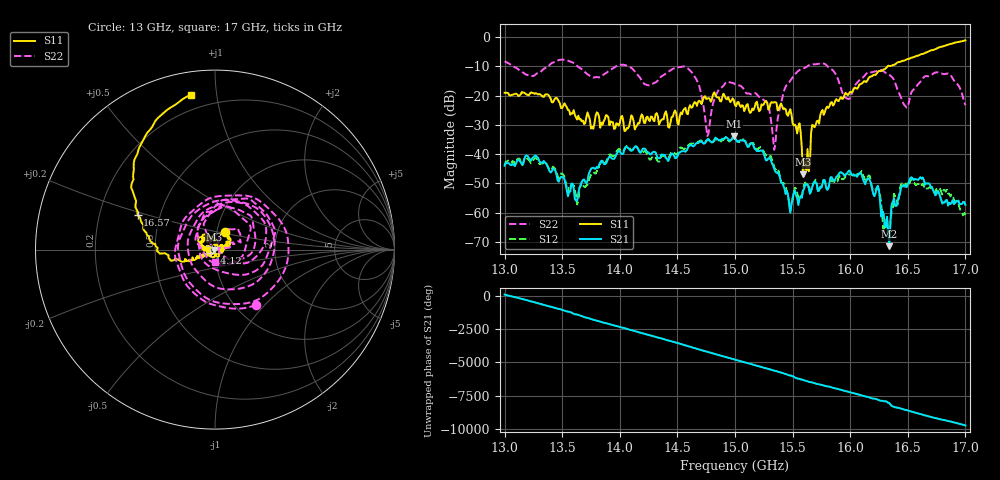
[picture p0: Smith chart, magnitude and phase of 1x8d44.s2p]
!Keysight Technologies,P9374A,MY57211807,A.19.30.04
!Date: Friday, May 08, 2026 15:20:28
!Correction: S11(C  2-Port  )
!S21(C  2-Port  )
!S12(C  2-Port  )
!S22(C  2-Port  )
!S2P File: Measurements: S11, S21, S12, S22:
# Hz S  dB  R 50
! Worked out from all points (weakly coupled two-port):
!   401 points, 13 GHz to 17 GHz, reference 50 ohm
!   highest |S21| = -33.87 dB at 14.99 GHz (marker M1); lowest = -71.5 dB at 16.34 GHz (marker M2)
!   lowest |S11| = -46.9 dB at 15.59 GHz (marker M3), VSWR 1.01, Z = 49.5 - j0.0227 ohm
!   |S11| at or under -10 dB: start of sweep to 16.33 GHz
!   |S22| runs from -38.6 to -7.7 dB; largest |S21 - S12| = 0.0023
!   S11 on the Smith chart (normalised r, x): 13 GHz: 1.10, +0.21; 14.12 GHz: 0.94, -0.04; 16.57 GHz: 0.37, +0.19; 17 GHz: 0.12, +0.85
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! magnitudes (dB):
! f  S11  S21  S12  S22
! 13 GHz  -19.0  -44.0  -43.8  -8.3
! 13.67 GHz  -28.8  -49.5  -49.5  -11.0
! 14.12 GHz  -28.8  -38.1  -38.1  -11.3
! 14.34 GHz  -29.9  -41.4  -42.7  -14.4
! 14.61 GHz  -23.3  -37.0  -36.6  -11.4
! 14.76 GHz  -21.0  -35.0  -35.1  -33.9
! 14.85 GHz  -20.6  -34.9  -35.1  -18.6
! 14.99 GHz  -21.7  -33.9  -34.3  -15.8
! 15 GHz  -23.3  -34.3  -34.7  -16.1
! 15.27 GHz  -21.8  -42.2  -40.4  -22.1
! 15.34 GHz  -22.3  -44.9  -44.3  -38.6
! 15.48 GHz  -24.7  -60.0  -59.3  -14.9
! 15.59 GHz  -46.9  -52.6  -52.2  -10.8
! 15.63 GHz  -38.3  -50.3  -50.7  -9.9
! 15.67 GHz  -30.0  -51.3  -51.5  -9.3
! 15.97 GHz  -19.5  -46.8  -47.8  -21.0
! 16.09 GHz  -16.1  -46.5  -46.2  -14.4
! 16.34 GHz  -9.9  -71.5  -67.9  -12.9
! 16.48 GHz  -7.9  -51.0  -50.1  -23.7
! 16.57 GHz  -6.5  -48.6  -50.6  -17.2
! 16.85 GHz  -2.6  -57.6  -53.5  -12.5
! 17 GHz  -1.2  -57.4  -60.8  -23.3
